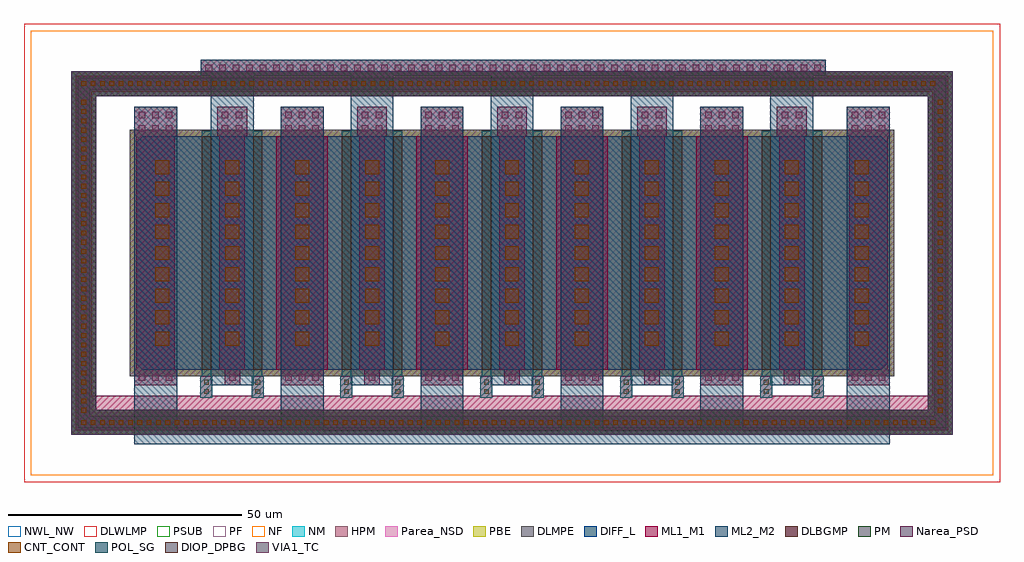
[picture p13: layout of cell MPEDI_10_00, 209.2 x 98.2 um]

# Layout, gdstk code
from math import pi, radians
import gdstk
lib = gdstk.Library(unit=1e-6, precision=1e-09)
def R(c, l, rs):  # rectangles x0, y0, x1, y1
    for r in rs: c.add(gdstk.rectangle(r[:2], r[2:], *l))
def A(c, l, x, y, w, h, nx, ny, dx, dy):  # array of equal rectangles
    R(c, l, [(x+i*dx, y+j*dy, x+i*dx+w, y+j*dy+h) for i in range(nx) for j in range(ny)])
def P(c, l, *ps):  # polygons
    for p in ps: c.add(gdstk.Polygon(p, *l))
DIFF_L = (3, 0)
NM = (7, 0)
POL_SG = (8, 0)
Narea_PSD = (9, 0)
CNT_CONT = (11, 0)
ML1_M1 = (13, 0)
VIA1_TC = (19, 0)
ML2_M2 = (20, 0)
NF = (25, 0)
PF = (26, 0)
Parea_NSD = (28, 0)
HPM = (33, 0)
PM = (35, 0)
NWL_NW = (36, 0)
DIOP_DPBG = (116, 0)
PSUB = (140, 0)
PBE = (146, 0)
DLWLMP = (150, 0)
DLMPE = (169, 0)
DLBGMP = (177, 0)

bgmp_cdns_696587135010 = lib.new_cell('BGMP_CDNS_696587135010')
R(bgmp_cdns_696587135010, DIFF_L, [(0,0,186.2,2.6)])
R(bgmp_cdns_696587135010, NM, [(-1.4,-1.4,187.6,4)])
R(bgmp_cdns_696587135010, Narea_PSD, [(-1.4,-1.4,187.6,4)])
A(bgmp_cdns_696587135010, CNT_CONT, 0.8, 0.8, 1, 1, 92, 1, 2, 0)
R(bgmp_cdns_696587135010, ML1_M1, [(0,0,186.2,2.6)])
R(bgmp_cdns_696587135010, HPM, [(-1.4,-1.4,187.6,4)])
R(bgmp_cdns_696587135010, PM, [(-1.4,-1.4,187.6,4)])

bgmp_cdns_696587135011 = lib.new_cell('BGMP_CDNS_696587135011')
R(bgmp_cdns_696587135011, DIFF_L, [(0,0,70,2.6)])
R(bgmp_cdns_696587135011, NM, [(-1.4,-1.4,71.4,4)])
R(bgmp_cdns_696587135011, Narea_PSD, [(-1.4,-1.4,71.4,4)])
A(bgmp_cdns_696587135011, CNT_CONT, 0.8, 0.8, 1, 1, 34, 1, 2, 0)
R(bgmp_cdns_696587135011, ML1_M1, [(0,0,70,2.6)])
R(bgmp_cdns_696587135011, HPM, [(-1.4,-1.4,71.4,4)])
R(bgmp_cdns_696587135011, PM, [(-1.4,-1.4,71.4,4)])

wlmp_cdns_696587135012 = lib.new_cell('WLMP_CDNS_696587135012')
R(wlmp_cdns_696587135012, NF, [(1.5,1.5,207.7,96.7)])
R(wlmp_cdns_696587135012, PF, [(1.5,1.5,207.7,96.7)])
R(wlmp_cdns_696587135012, NWL_NW, [(0,0,209.2,98.2)])
R(wlmp_cdns_696587135012, PSUB, [(1.5,1.5,207.7,96.7)])
R(wlmp_cdns_696587135012, DLWLMP, [(0,0,209.2,98.2)])

mpe_cdns_696587135013 = lib.new_cell('MPE_CDNS_696587135013')
R(mpe_cdns_696587135013, DIFF_L, [(10,0,12,50)])
P(mpe_cdns_696587135013, DIFF_L, [(12,0),(12,50),(24.6,50),(26,48.6),(26,1.4),(24.6,0)],
  [(1.4,0),(0,1.4),(0,48.6),(1.4,50),(10,50),(10,0)])
R(mpe_cdns_696587135013, NM, [(-1.4,-1.4,27.4,51.4)])
R(mpe_cdns_696587135013, POL_SG, [(10,-1.2,12,0), (10,-1.2,12,51.2), (10,50,12,51.2)])
A(mpe_cdns_696587135013, CNT_CONT, 4, 5.1, 3, 3, 1, 9, 0, 4.6)
A(mpe_cdns_696587135013, CNT_CONT, 19, 5.1, 3, 3, 1, 9, 0, 4.6)
R(mpe_cdns_696587135013, ML1_M1, [(2.8,0,8.2,50), (17.8,0,26,50)])
R(mpe_cdns_696587135013, Parea_NSD, [(-1.4,-1.4,27.4,51.4)])
R(mpe_cdns_696587135013, HPM, [(-1.4,-1.4,27.4,51.4)])
R(mpe_cdns_696587135013, DIOP_DPBG, [(10,0,12,50)])
R(mpe_cdns_696587135013, PBE, [(-1.4,-1.4,27.4,51.4)])
R(mpe_cdns_696587135013, DLMPE, [(-1.4,-1.4,27.4,51.4)])

sgct_cdns_696587135010 = lib.new_cell('SGCT_CDNS_696587135010')
R(sgct_cdns_696587135010, POL_SG, [(-1.3,-2.3,1.3,2.3)])
R(sgct_cdns_696587135010, CNT_CONT, [(-0.5,-1.5,0.5,-0.5), (-0.5,0.5,0.5,1.5)])
R(sgct_cdns_696587135010, ML1_M1, [(-1.3,-2.3,1.3,2.3)])

tc14_cdns_696587135011 = lib.new_cell('TC14_CDNS_696587135011')
R(tc14_cdns_696587135011, ML1_M1, [(-4.6,-1.7,4.6,1.7)])
A(tc14_cdns_696587135011, VIA1_TC, -3.6, -0.7, 1.4, 1.4, 3, 1, 2.9, 0)
R(tc14_cdns_696587135011, ML2_M2, [(-4.6,-1.7,4.6,1.7)])

tc14_cdns_696587135012 = lib.new_cell('TC14_CDNS_696587135012')
R(tc14_cdns_696587135012, ML1_M1, [(-4.6,-3.1,4.6,3.2)])
A(tc14_cdns_696587135012, VIA1_TC, -3.6, -2.1, 1.4, 1.4, 3, 2, 2.9, 2.9)
R(tc14_cdns_696587135012, ML2_M2, [(-4.6,-3.1,4.6,3.2)])

tc14_cdns_696587135013 = lib.new_cell('TC14_CDNS_696587135013')
R(tc14_cdns_696587135013, ML1_M1, [(-1.7,-3.1,1.7,3.2)])
R(tc14_cdns_696587135013, VIA1_TC, [(-0.7,-2.1,0.7,-0.7), (-0.7,0.8,0.7,2.2)])
R(tc14_cdns_696587135013, ML2_M2, [(-1.7,-3.1,1.7,3.2)])

tc14_cdns_696587135014 = lib.new_cell('TC14_CDNS_696587135014')
R(tc14_cdns_696587135014, ML1_M1, [(-1.7,-1.7,1.7,1.7)])
R(tc14_cdns_696587135014, VIA1_TC, [(-0.7,-0.7,0.7,0.7)])
R(tc14_cdns_696587135014, ML2_M2, [(-1.7,-1.7,1.7,1.7)])

tc14_cdns_696587135015 = lib.new_cell('TC14_CDNS_696587135015')
R(tc14_cdns_696587135015, ML1_M1, [(-66.9,-1.7,67,1.7)])
A(tc14_cdns_696587135015, VIA1_TC, -65.9, -0.7, 1.4, 1.4, 46, 1, 2.9, 0)
R(tc14_cdns_696587135015, ML2_M2, [(-66.9,-1.7,67,1.7)])

mpedi_10_00 = lib.new_cell('MPEDI_10_00')
R(mpedi_10_00, POL_SG, [(38.1,22.7,40.1,22.9), (49.1,22.7,51.1,22.9), (68.1,22.7,70.1,22.9), (79.1,22.7,81.1,22.9), (98.1,22.7,100.1,22.9), (109.1,22.7,111.1,22.9), (128.1,22.7,130.1,22.9), (139.1,22.7,141.1,22.9), (158.1,22.7,160.1,22.9), (169.1,22.7,171.1,22.9)])
R(mpedi_10_00, ML1_M1, [(14.1,14.1,195.1,18.5)])
A(mpedi_10_00, ML2_M2, 55, 8.1, 9.2, 72.3, 4, 1, 30, 0)
A(mpedi_10_00, ML2_M2, 40, 20.7, 9.2, 69.8, 5, 1, 30, 0)
R(mpedi_10_00, ML2_M2, [(23.6,8.1,32.8,80.4), (23.6,8.1,25,9.5), (176.4,8.1,185.6,80.4), (38,89.1,39.4,90.5)])
R(mpedi_10_00, DLBGMP, [(10.1,10.1,199.1,15.5), (10.1,12.7,15.5,85.5), (193.7,12.7,199.1,85.5), (10.1,82.7,199.1,88.1)])
mpedi_10_00.add(gdstk.FlexPath([(170.1,19.4),(170.1,17.2),(39.1,17.2),(39.1,19.4)], 2.6, ends="flush", simple_path=True, layer=13, datatype=0))  # ML1_M1
mpedi_10_00.add(gdstk.FlexPath([(196.4,11.1),(196.4,87.1)], 3.4, ends="flush", simple_path=True, layer=13, datatype=0))  # ML1_M1
mpedi_10_00.add(gdstk.FlexPath([(12.8,11.1),(12.8,87.1)], 3.4, ends="flush", simple_path=True, layer=13, datatype=0))  # ML1_M1
mpedi_10_00.add(gdstk.FlexPath([(11.1,85.4),(198.1,85.4)], 3.4, ends="flush", simple_path=True, layer=13, datatype=0))  # ML1_M1
mpedi_10_00.add(gdstk.FlexPath([(11.1,12.8),(198.1,12.8)], 3.4, ends="flush", simple_path=True, layer=13, datatype=0))  # ML1_M1
mpedi_10_00.add(gdstk.FlexPath([(185.6,9.6),(23.6,9.6)], 3, ends="flush", simple_path=True, layer=20, datatype=0))  # ML2_M2
mpedi_10_00.add(gdstk.Reference(bgmp_cdns_696587135010, (11.5,11.5)))
mpedi_10_00.add(gdstk.Reference(bgmp_cdns_696587135010, (11.5,84.1)))
mpedi_10_00.add(gdstk.Reference(bgmp_cdns_696587135011, (197.7,14.1), rotation=pi/2))
mpedi_10_00.add(gdstk.Reference(bgmp_cdns_696587135011, (14.1,14.1), rotation=pi/2))
mpedi_10_00.add(gdstk.Reference(wlmp_cdns_696587135012, (0,0)))
mpedi_10_00.add(gdstk.Reference(mpe_cdns_696587135013, (80.1,24.1), rotation=pi, x_reflection=True))
mpedi_10_00.add(gdstk.Reference(mpe_cdns_696587135013, (39.1,24.1)))
mpedi_10_00.add(gdstk.Reference(mpe_cdns_696587135013, (50.1,24.1), rotation=pi, x_reflection=True))
mpedi_10_00.add(gdstk.Reference(mpe_cdns_696587135013, (159.1,24.1)))
mpedi_10_00.add(gdstk.Reference(mpe_cdns_696587135013, (170.1,24.1), rotation=pi, x_reflection=True))
mpedi_10_00.add(gdstk.Reference(mpe_cdns_696587135013, (99.1,24.1)))
mpedi_10_00.add(gdstk.Reference(mpe_cdns_696587135013, (140.1,24.1), rotation=pi, x_reflection=True))
mpedi_10_00.add(gdstk.Reference(mpe_cdns_696587135013, (129.1,24.1)))
mpedi_10_00.add(gdstk.Reference(mpe_cdns_696587135013, (69.1,24.1)))
mpedi_10_00.add(gdstk.Reference(mpe_cdns_696587135013, (110.1,24.1), rotation=pi, x_reflection=True))
mpedi_10_00.add(gdstk.Reference(sgct_cdns_696587135010, (170.1,20.4)))
mpedi_10_00.add(gdstk.Reference(sgct_cdns_696587135010, (159.1,20.4)))
mpedi_10_00.add(gdstk.Reference(sgct_cdns_696587135010, (140.1,20.4)))
mpedi_10_00.add(gdstk.Reference(sgct_cdns_696587135010, (129.1,20.4)))
mpedi_10_00.add(gdstk.Reference(sgct_cdns_696587135010, (110.1,20.4)))
mpedi_10_00.add(gdstk.Reference(sgct_cdns_696587135010, (99.1,20.4)))
mpedi_10_00.add(gdstk.Reference(sgct_cdns_696587135010, (80.1,20.4)))
mpedi_10_00.add(gdstk.Reference(sgct_cdns_696587135010, (69.1,20.4)))
mpedi_10_00.add(gdstk.Reference(sgct_cdns_696587135010, (50.1,20.4)))
mpedi_10_00.add(gdstk.Reference(sgct_cdns_696587135010, (39.1,20.4)))
mpedi_10_00.add(gdstk.Reference(tc14_cdns_696587135011, (181,22.4)))
mpedi_10_00.add(gdstk.Reference(tc14_cdns_696587135011, (149.6,22.4)))
mpedi_10_00.add(gdstk.Reference(tc14_cdns_696587135011, (119.6,22.4)))
mpedi_10_00.add(gdstk.Reference(tc14_cdns_696587135011, (89.6,22.4)))
mpedi_10_00.add(gdstk.Reference(tc14_cdns_696587135011, (59.6,22.4)))
mpedi_10_00.add(gdstk.Reference(tc14_cdns_696587135011, (28.2,22.4)))
mpedi_10_00.add(gdstk.Reference(tc14_cdns_696587135012, (181,77.2)))
mpedi_10_00.add(gdstk.Reference(tc14_cdns_696587135012, (149.6,77.2)))
mpedi_10_00.add(gdstk.Reference(tc14_cdns_696587135012, (119.6,77.2)))
mpedi_10_00.add(gdstk.Reference(tc14_cdns_696587135012, (89.6,77.2)))
mpedi_10_00.add(gdstk.Reference(tc14_cdns_696587135012, (59.6,77.2)))
mpedi_10_00.add(gdstk.Reference(tc14_cdns_696587135012, (28.2,77.2)))
mpedi_10_00.add(gdstk.Reference(tc14_cdns_696587135013, (166.1,77.2)))
mpedi_10_00.add(gdstk.Reference(tc14_cdns_696587135013, (163.1,77.2)))
mpedi_10_00.add(gdstk.Reference(tc14_cdns_696587135013, (136.1,77.2)))
mpedi_10_00.add(gdstk.Reference(tc14_cdns_696587135013, (133.1,77.2)))
mpedi_10_00.add(gdstk.Reference(tc14_cdns_696587135013, (106.1,77.2)))
mpedi_10_00.add(gdstk.Reference(tc14_cdns_696587135013, (103.1,77.2)))
mpedi_10_00.add(gdstk.Reference(tc14_cdns_696587135013, (76.1,77.2)))
mpedi_10_00.add(gdstk.Reference(tc14_cdns_696587135013, (73.1,77.2)))
mpedi_10_00.add(gdstk.Reference(tc14_cdns_696587135013, (46.1,77.2)))
mpedi_10_00.add(gdstk.Reference(tc14_cdns_696587135013, (43.1,77.2)))
mpedi_10_00.add(gdstk.Reference(tc14_cdns_696587135014, (164.6,22.4)))
mpedi_10_00.add(gdstk.Reference(tc14_cdns_696587135014, (134.6,22.4)))
mpedi_10_00.add(gdstk.Reference(tc14_cdns_696587135014, (104.6,22.4)))
mpedi_10_00.add(gdstk.Reference(tc14_cdns_696587135014, (74.6,22.4)))
mpedi_10_00.add(gdstk.Reference(tc14_cdns_696587135014, (44.7,22.4)))
mpedi_10_00.add(gdstk.Reference(tc14_cdns_696587135015, (104.8,88.8)))

lib.write_gds('MPEDI_10_00.gds')
